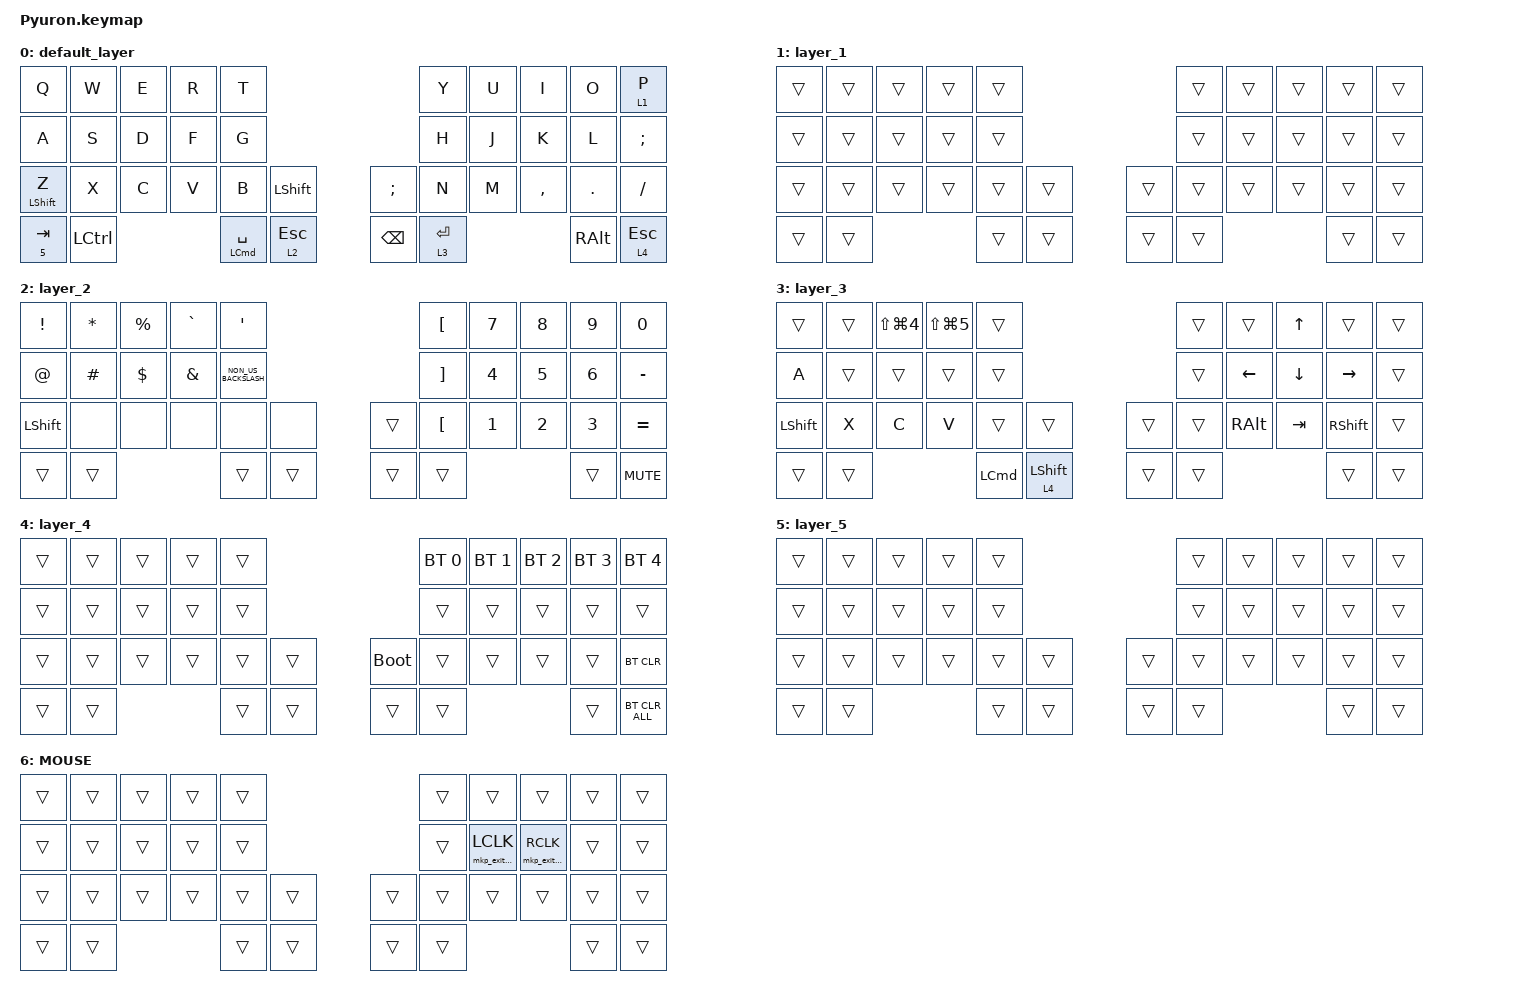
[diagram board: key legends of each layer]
#include <behaviors.dtsi>
#include <dt-bindings/zmk/bt.h>
#include <dt-bindings/zmk/keys.h>
#include <dt-bindings/zmk/pointing.h>

#define MOUSE 6

&mt {
    flavor = "balanced";
    quick-tap-ms = <0>;
};

/ {
    combos {
        compatible = "zmk,combos";

        hyphen {
            bindings = <&kp MINUS>;
            key-positions = <18 19>;
        };

        equal {
            bindings = <&kp EQUAL>;
            key-positions = <30 31>;
        };

        copy_page_url {
            bindings = <&kp LG(RS(C))>;
            key-positions = <17 18 19>;
        };

        kana {
            bindings = <&kp LANG1>;
            key-positions = <23 22>;
        };

        ei {
            bindings = <&kp LANG2>;
            key-positions = <22 21>;
        };

        l_click {
            bindings = <&mkp LCLK>;
            key-positions = <16 17>;
        };

        r_click {
            bindings = <&mkp RCLK>;
            key-positions = <17 18>;
        };
    };

    macros {
        to_layer_0: to_layer_0 {
            compatible = "zmk,behavior-macro-one-param";
            #binding-cells = <1>;
            bindings = <&to 0 &macro_param_1to1 &kp MACRO_PLACEHOLDER>;
            label = "TO_LAYER_0";
        };

        alt_and_to_layer: alt_and_to_layer {
            compatible = "zmk,behavior-macro-one-param";
            #binding-cells = <1>;
            bindings =
                <&macro_press>,
                <&macro_param_1to1 &mo MACRO_PLACEHOLDER &kp LALT>,
                <&macro_tap>,
                <&kp TAB>,
                <&macro_pause_for_release>,
                <&macro_release>,
                <&macro_param_1to1 &mo MACRO_PLACEHOLDER &kp LALT>;

            label = "ALT_AND_TO_LAYER";
        };

        mkp_exit_AML: mkp_exit_AML {
            compatible = "zmk,behavior-macro-one-param";
            #binding-cells = <1>;
            bindings =
                <&macro_press>,
                <&macro_param_1to1 &mkp MACRO_PLACEHOLDER>,
                <&macro_pause_for_release>,
                <&macro_release>,
                <&macro_param_1to1 &mkp MACRO_PLACEHOLDER>,
                <&macro_tap>,
                <&sl 6>;

            label = "MKP_EXIT_AML";
        };
    };

    lt_to_layer_0: lt_to_layer_0 {
        compatible = "zmk,behavior-hold-tap";
        label = "LAYER_TAP_TO_0";
        bindings = <&mo>, <&to_layer_0>;

        #binding-cells = <2>;
        tapping-term-ms = <200>;
    };

    ht_alt_layer: ht_alt_layer {
        compatible = "zmk,behavior-hold-tap";
        label = "HT_ALT_LAYER";
        bindings = <&alt_and_to_layer>, <&kp>;

        #binding-cells = <2>;
        tapping-term-ms = <200>;
    };
};

/ {
    behaviors {
    };

    keymap {
        compatible = "zmk,keymap";

        default_layer {
            bindings = <
&kp Q             &kp W      &kp E                &kp R             &kp T                   &kp Y           &kp U          &kp I        &kp O          &lt 1 P
&kp A             &kp S      &kp D                &kp F             &kp G                   &kp H           &kp J          &kp K        &kp L          &kp SEMICOLON
&mt LEFT_SHIFT Z  &kp X      &kp C                &kp V             &kp B                   &kp LEFT_SHIFT  &kp SEMICOLON  &kp N        &kp M          &kp COMMA
&kp DOT           &kp SLASH  &ht_alt_layer 5 TAB  &kp LEFT_CONTROL  &mt LEFT_COMMAND SPACE  &lt 2 ESCAPE    &kp BACKSPACE  &lt 3 ENTER  &kp RIGHT_ALT  &lt 4 ESC
            >;
        };

        layer_1 {
            bindings = <
&trans  &trans  &trans  &trans  &trans  &trans  &trans  &trans  &trans  &trans
&trans  &trans  &trans  &trans  &trans  &trans  &trans  &trans  &trans  &trans
&trans  &trans  &trans  &trans  &trans  &trans  &trans  &trans  &trans  &trans
&trans  &trans  &trans  &trans  &trans  &trans  &trans  &trans  &trans  &trans
            >;
        };

        layer_2 {
            bindings = <
&kp EXCLAMATION  &kp ASTERISK  &kp PERCENT  &kp GRAVE      &kp SQT               &kp LEFT_BRACKET   &kp N7        &kp N8            &kp N9        &kp N0
&kp AT_SIGN      &kp HASH      &kp DOLLAR   &kp AMPERSAND  &kp NON_US_BACKSLASH  &kp RIGHT_BRACKET  &kp NUMBER_4  &kp N5            &kp NUMBER_6  &kp MINUS
&kp LEFT_SHIFT   &none         &none        &none          &none                 &none              &trans        &kp LEFT_BRACKET  &kp NUMBER_1  &kp NUMBER_2
&kp NUMBER_3     &kp EQUAL     &trans       &trans         &trans                &trans             &trans        &trans            &trans        &kp K_MUTE
            >;
        };

        layer_3 {
            bindings = <
&trans           &trans  &kp LS(LG(NUMBER_4))  &kp LS(LG(NUMBER_5))  &trans            &trans            &trans          &kp UP_ARROW    &trans           &trans
&kp A            &trans  &trans                &trans                &trans            &trans            &kp LEFT_ARROW  &kp DOWN_ARROW  &kp RIGHT_ARROW  &trans
&kp LEFT_SHIFT   &kp X   &kp C                 &kp V                 &trans            &trans            &trans          &trans          &kp RIGHT_ALT    &kp TAB
&kp RIGHT_SHIFT  &trans  &trans                &trans                &kp LEFT_COMMAND  &lt 4 LEFT_SHIFT  &trans          &trans          &trans           &trans
            >;
        };

        layer_4 {
            bindings = <
&trans  &trans      &trans  &trans  &trans  &bt BT_SEL 0  &bt BT_SEL 1  &bt BT_SEL 2  &bt BT_SEL 3  &bt BT_SEL 4
&trans  &trans      &trans  &trans  &trans  &trans        &trans        &trans        &trans        &trans
&trans  &trans      &trans  &trans  &trans  &trans        &bootloader   &trans        &trans        &trans
&trans  &bt BT_CLR  &trans  &trans  &trans  &trans        &trans        &trans        &trans        &bt BT_CLR_ALL
            >;
        };

        layer_5 {
            bindings = <
&trans  &trans  &trans  &trans  &trans  &trans  &trans  &trans  &trans  &trans
&trans  &trans  &trans  &trans  &trans  &trans  &trans  &trans  &trans  &trans
&trans  &trans  &trans  &trans  &trans  &trans  &trans  &trans  &trans  &trans
&trans  &trans  &trans  &trans  &trans  &trans  &trans  &trans  &trans  &trans
            >;
        };

        MOUSE {
            bindings = <
&trans  &trans  &trans  &trans  &trans  &trans  &trans              &trans              &trans  &trans
&trans  &trans  &trans  &trans  &trans  &trans  &mkp_exit_AML LCLK  &mkp_exit_AML RCLK  &trans  &trans
&trans  &trans  &trans  &trans  &trans  &trans  &trans              &trans              &trans  &trans
&trans  &trans  &trans  &trans  &trans  &trans  &trans              &trans              &trans  &trans
            >;
        };
    };
};
